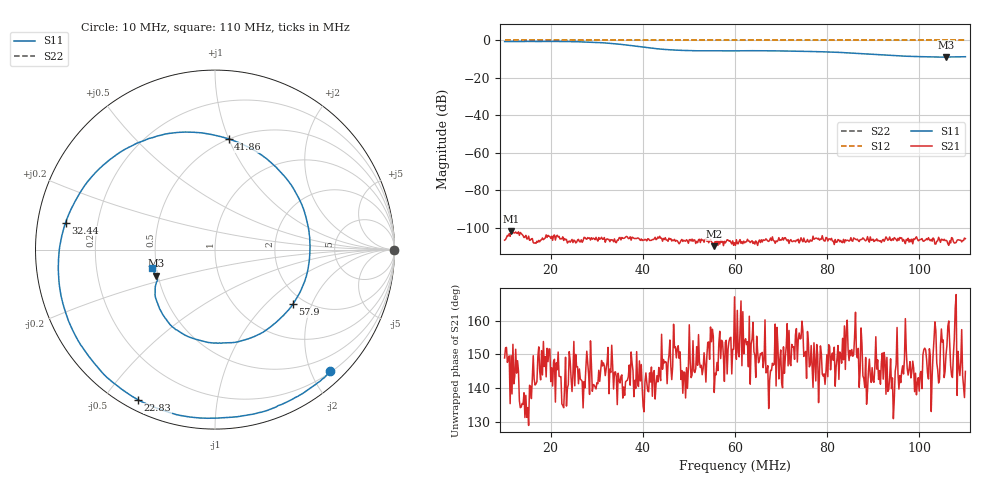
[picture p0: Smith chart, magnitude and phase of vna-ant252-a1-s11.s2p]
! Anritsu VNA Master:  Model: MS2034B/10/19/501
! SN:  1337062
! /bd0/ovro-jan-2016/vna-jan/vna-ant252-a1-s11.s2p
! Existing Calibration Information:
! TYPE:  Current Settings,  Active Cal Settings
! TIME:  01/13/2016 06:40:00 PM,  01/13/2016 06:15:05 PM
! INTERNAL TEMP:  40.5 C,  42.3 C
! # POINTS:  500,  500
! START FREQ:  10.000 MHz,  10.000 MHz
! STOP FREQ:  110.000 MHz,  110.000 MHz
! SOURCE POWER:  High,  High
! IFBW:  100 Hz,  100 Hz
! AVG FACTOR:  4 ,  4
! REF PLANE 1:  0 mm,  0 mm
! REF PLANE 2:  0 mm,  0 mm
! CAL TYPE:  Full S11,  Full S11
! CAL METHOD:  SOLT,  SOLT
! CAL LINE TYPE:  Coax,  Coax
! DUT PORT 1:  K-Conn(M),  K-Conn(M)
! DUT PORT 2:  N-Conn(M),  N-Conn(M)
! CAL STATUS:  OK: Accuracy High,  --
# GHZ S DB R 50.0
! FREQ.GHZ  S11DB  S11A  S21DB  S21A  S12DB  S12A  S22DB  S22A
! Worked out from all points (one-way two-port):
!   500 points, 10 MHz to 110 MHz, reference 50 ohm
!   highest |S21| = -101.99 dB at 11.4 MHz (marker M1); lowest = -109.9 dB at 55.49 MHz (marker M2)
!   lowest |S11| = -8.9 dB at 105.8 MHz (marker M3), VSWR 2.12, Z = 24.4 - j8.18 ohm
!   |S11| at or under -10 dB: nowhere
!   |S22| runs from 0.0 to 0.0 dB; largest |S21 - S12| = 1
!   S11 on the Smith chart (normalised r, x): 10 MHz: 0.22, -2.31; 22.83 MHz: 0.04, -0.61; 32.44 MHz: 0.08, +0.09; 41.86 MHz: 0.50, +1.00; 57.9 MHz: 1.74, -1.47; 110 MHz: 0.47, -0.11
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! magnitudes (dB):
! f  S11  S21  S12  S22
! 10 MHz  -0.6  -106.7  0.0  0.0
! 11.4 MHz  -0.6  -102.0  0.0  0.0
! 22.83 MHz  -0.5  -106.9  0.0  0.0
! 26.83 MHz  -0.7  -107.9  0.0  0.0
! 29.64 MHz  -1.0  -106.5  0.0  0.0
! 32.44 MHz  -1.5  -106.3  0.0  0.0
! 36.25 MHz  -2.4  -105.1  0.0  0.0
! 41.86 MHz  -4.1  -106.8  0.0  0.0
! 43.47 MHz  -4.5  -105.7  0.0  0.0
! 45.67 MHz  -5.0  -105.7  0.0  0.0
! 49.48 MHz  -5.4  -106.5  0.0  0.0
! 55.49 MHz  -5.5  -109.9  0.0  0.0
! 57.9 MHz  -5.5  -108.2  0.0  0.0
! 60.1 MHz  -5.5  -109.5  0.0  0.0
! 67.72 MHz  -5.5  -105.6  0.0  0.0
! 76.73 MHz  -5.9  -107.1  0.0  0.0
! 81.94 MHz  -6.3  -107.8  0.0  0.0
! 93.37 MHz  -7.9  -106.4  0.0  0.0
! 97.98 MHz  -8.5  -106.4  0.0  0.0
! 102.8 MHz  -8.8  -107.3  0.0  0.0
! 105.8 MHz  -8.9  -106.8  0.0  0.0
! 110 MHz  -8.7  -105.9  0.0  0.0
